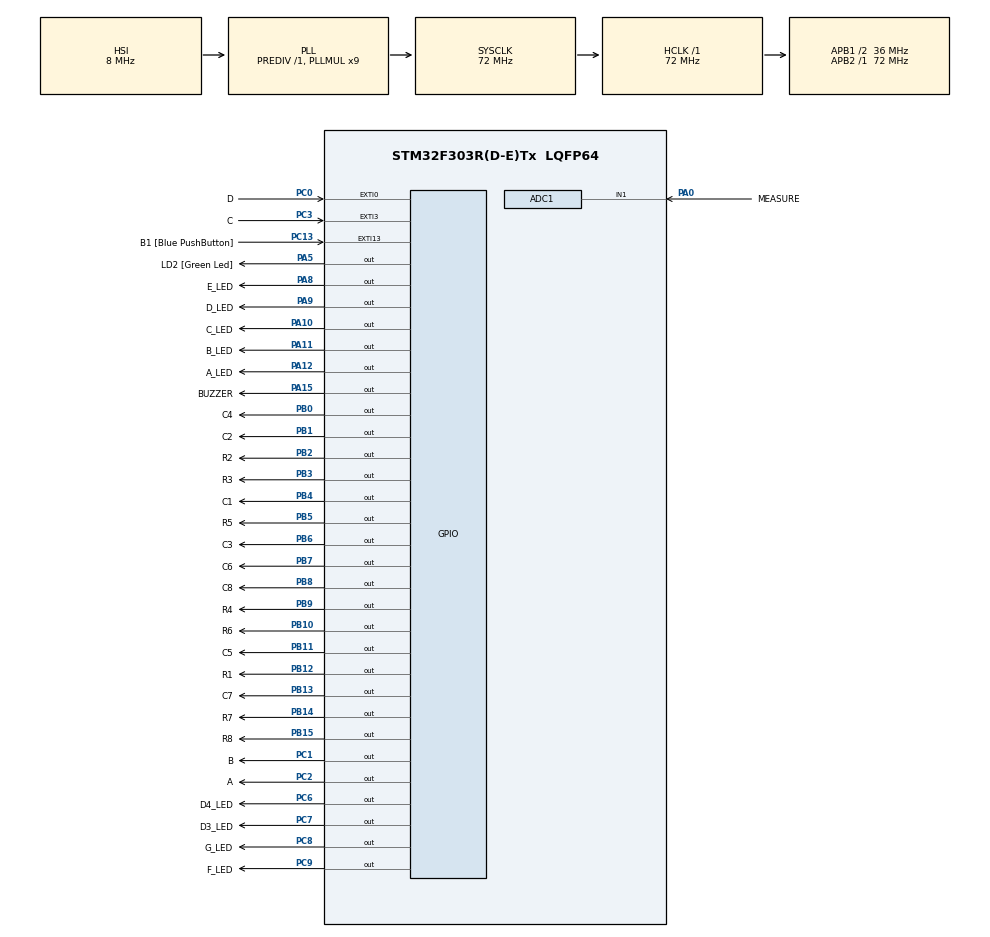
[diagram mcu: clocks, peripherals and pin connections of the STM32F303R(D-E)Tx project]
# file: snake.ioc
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ADC1.Channel-1\#ChannelRegularConversion=ADC_CHANNEL_1
ADC1.ContinuousConvMode=DISABLE
ADC1.InjNumberOfConversion=0
ADC1.NbrOfConversionFlag=1
ADC1.Offset-1\#ChannelRegularConversion=0
ADC1.OffsetNumber-1\#ChannelRegularConversion=ADC_OFFSET_NONE
ADC1.Rank-1\#ChannelRegularConversion=1
ADC1.SamplingTime-1\#ChannelRegularConversion=ADC_SAMPLETIME_1CYCLE_5
ADC1.SamplingTimeOPAMP-1\#ChannelRegularConversion=ADC_SAMPLETIME_61CYCLES_5
ADC1.master=1
Mcu.Family=STM32F3
Mcu.Name=STM32F303R(D-E)Tx
Mcu.Package=LQFP64
NVIC.EXTI0_IRQn=true\:0\:0\:false\:false\:true\:true\:true
NVIC.EXTI15_10_IRQn=true\:0\:0\:false\:false\:true\:true\:true
NVIC.EXTI3_IRQn=true\:0\:0\:false\:false\:true\:true\:true
NVIC.PriorityGroup=NVIC_PRIORITYGROUP_0
NVIC.TIM2_IRQn=true\:0\:0\:false\:false\:true\:true\:true
NVIC.TIM3_IRQn=true\:0\:0\:false\:false\:true\:true\:true
NVIC.TIM4_IRQn=true\:0\:0\:false\:false\:true\:true\:true
PA0.GPIO_Label=MEASURE
PA0.Signal=SharedAnalog_PA0
PA10.GPIO_Label=C_LED
PA10.PinState=GPIO_PIN_SET
PA10.Signal=GPIO_Output
PA11.GPIO_Label=B_LED
PA11.PinState=GPIO_PIN_SET
PA11.Signal=GPIO_Output
PA12.GPIO_Label=A_LED
PA12.PinState=GPIO_PIN_SET
PA12.Signal=GPIO_Output
PA13.GPIO_Label=TMS
PA13.Mode=Serial_Wire
PA13.Signal=SYS_JTMS-SWDIO
PA14.GPIO_Label=TCK
PA14.Mode=Serial_Wire
PA14.Signal=SYS_JTCK-SWCLK
PA15.GPIO_Label=BUZZER
PA15.GPIO_ModeDefaultOutputPP=GPIO_MODE_OUTPUT_OD
PA15.PinState=GPIO_PIN_SET
PA15.Signal=GPIO_Output
PA2.GPIO_Label=USART_TX
PA2.GPIO_Mode=GPIO_MODE_AF_PP
PA2.GPIO_PuPd=GPIO_NOPULL
PA2.GPIO_Speed=GPIO_SPEED_FREQ_LOW
PA2.Signal=USART2_TX
PA3.GPIO_Label=USART_RX
PA3.GPIO_Mode=GPIO_MODE_AF_PP
PA3.GPIO_PuPd=GPIO_NOPULL
PA3.GPIO_Speed=GPIO_SPEED_FREQ_LOW
PA3.Signal=USART2_RX
PA5.GPIO_Label=LD2 [Green Led]
PA5.GPIO_Mode=GPIO_MODE_OUTPUT_PP
PA5.GPIO_PuPd=GPIO_NOPULL
PA5.GPIO_Speed=GPIO_SPEED_FREQ_LOW
PA5.Signal=GPIO_Output
PA8.GPIO_Label=E_LED
PA8.PinState=GPIO_PIN_SET
PA8.Signal=GPIO_Output
PA9.GPIO_Label=D_LED
PA9.PinState=GPIO_PIN_SET
PA9.Signal=GPIO_Output
PB0.GPIO_Label=C4
PB0.GPIO_Speed=GPIO_SPEED_FREQ_MEDIUM
PB0.PinState=GPIO_PIN_RESET
PB0.Signal=GPIO_Output
PB1.GPIO_Label=C2
PB1.GPIO_Speed=GPIO_SPEED_FREQ_MEDIUM
PB1.PinState=GPIO_PIN_RESET
PB1.Signal=GPIO_Output
PB10.GPIO_Label=R6
PB10.GPIO_Speed=GPIO_SPEED_FREQ_MEDIUM
PB10.PinState=GPIO_PIN_SET
PB10.Signal=GPIO_Output
PB11.GPIO_Label=C5
PB11.GPIO_Speed=GPIO_SPEED_FREQ_MEDIUM
PB11.PinState=GPIO_PIN_RESET
PB11.Signal=GPIO_Output
PB12.GPIO_Label=R1
PB12.GPIO_Speed=GPIO_SPEED_FREQ_MEDIUM
PB12.PinState=GPIO_PIN_SET
PB12.Signal=GPIO_Output
PB13.GPIO_Label=C7
PB13.GPIO_Speed=GPIO_SPEED_FREQ_MEDIUM
PB13.PinState=GPIO_PIN_RESET
PB13.Signal=GPIO_Output
PB14.GPIO_Label=R7
PB14.GPIO_Speed=GPIO_SPEED_FREQ_MEDIUM
PB14.PinState=GPIO_PIN_SET
PB14.Signal=GPIO_Output
PB15.GPIO_Label=R8
PB15.GPIO_Speed=GPIO_SPEED_FREQ_MEDIUM
PB15.PinState=GPIO_PIN_SET
PB15.Signal=GPIO_Output
PB2.GPIO_Label=R2
PB2.GPIO_Speed=GPIO_SPEED_FREQ_MEDIUM
PB2.PinState=GPIO_PIN_SET
PB2.Signal=GPIO_Output
PB3.GPIO_Label=R3
PB3.GPIO_Speed=GPIO_SPEED_FREQ_MEDIUM
PB3.PinState=GPIO_PIN_SET
PB3.Signal=GPIO_Output
PB4.GPIO_Label=C1
PB4.GPIO_Speed=GPIO_SPEED_FREQ_MEDIUM
PB4.PinState=GPIO_PIN_RESET
PB4.Signal=GPIO_Output
PB5.GPIO_Label=R5
PB5.GPIO_Speed=GPIO_SPEED_FREQ_MEDIUM
PB5.PinState=GPIO_PIN_SET
PB5.Signal=GPIO_Output
PB6.GPIO_Label=C3
PB6.GPIO_Speed=GPIO_SPEED_FREQ_MEDIUM
PB6.PinState=GPIO_PIN_RESET
PB6.Signal=GPIO_Output
PB7.GPIO_Label=C6
PB7.GPIO_Speed=GPIO_SPEED_FREQ_MEDIUM
PB7.PinState=GPIO_PIN_RESET
PB7.Signal=GPIO_Output
PB8.GPIO_Label=C8
PB8.GPIO_Speed=GPIO_SPEED_FREQ_MEDIUM
PB8.PinState=GPIO_PIN_RESET
PB8.Signal=GPIO_Output
PB9.GPIO_Label=R4
PB9.GPIO_Speed=GPIO_SPEED_FREQ_MEDIUM
PB9.PinState=GPIO_PIN_SET
PB9.Signal=GPIO_Output
PC0.GPIO_Label=D
PC0.GPIO_PuPd=GPIO_PULLDOWN
PC0.Signal=GPXTI0
PC1.GPIO_Label=B
PC1.GPIO_ModeDefaultOutputPP=GPIO_MODE_OUTPUT_OD
PC1.GPIO_Speed=GPIO_SPEED_FREQ_LOW
PC1.PinState=GPIO_PIN_RESET
PC1.Signal=GPIO_Output
PC13.GPIO_Label=B1 [Blue PushButton]
PC13.GPIO_ModeDefaultEXTI=GPIO_MODE_IT_FALLING
PC13.Signal=GPXTI13
PC14-OSC32_IN.Mode=LSE-External-Oscillator
PC14-OSC32_IN.Signal=RCC_OSC32_IN
PC15-OSC32_OUT.Mode=LSE-External-Oscillator
PC15-OSC32_OUT.Signal=RCC_OSC32_OUT
PC2.GPIO_Label=A
PC2.GPIO_ModeDefaultOutputPP=GPIO_MODE_OUTPUT_OD
PC2.GPIO_PuPd=GPIO_NOPULL
PC2.GPIO_Speed=GPIO_SPEED_FREQ_LOW
PC2.PinState=GPIO_PIN_RESET
PC2.Signal=GPIO_Output
PC3.GPIO_Label=C
PC3.GPIO_PuPd=GPIO_PULLDOWN
PC3.Signal=GPXTI3
PC6.GPIO_Label=D4_LED
PC6.Signal=GPIO_Output
PC7.GPIO_Label=D3_LED
PC7.PinState=GPIO_PIN_RESET
PC7.Signal=GPIO_Output
PC8.GPIO_Label=G_LED
PC8.PinState=GPIO_PIN_SET
PC8.Signal=GPIO_Output
PC9.GPIO_Label=F_LED
PC9.PinState=GPIO_PIN_SET
PC9.Signal=GPIO_Output
PF0-OSC_IN.Mode=HSE-External-Clock-Source
PF0-OSC_IN.Signal=RCC_OSC_IN
PF1-OSC_OUT.Signal=RCC_OSC_OUT
ProjectManager.HeapSize=0x200
ProjectManager.StackSize=0x400
ProjectManager.TargetToolchain=STM32CubeIDE
RCC.AHBFreq_Value=72000000
RCC.APB1CLKDivider=RCC_HCLK_DIV2
RCC.APB1Freq_Value=36000000
RCC.APB1TimFreq_Value=72000000
RCC.APB2Freq_Value=72000000
RCC.APB2TimFreq_Value=72000000
RCC.CortexFreq_Value=72000000
RCC.HCLKFreq_Value=72000000
RCC.HSE_VALUE=8000000
RCC.HSI_VALUE=8000000
RCC.PLLM=8
RCC.PLLMUL=RCC_PLL_MUL9
RCC.PLLN=336
RCC.PLLP=RCC_PLLP_DIV4
RCC.PLLQ=7
RCC.RCC_PLLsource_Clock_Source_FROM_HSE=RCC_HSE_PREDIV_DIV2
RCC.SYSCLKFreq_VALUE=72000000
RCC.SYSCLKSourceVirtual=RCC_SYSCLKSOURCE_PLLCLK
RCC.USBFreq_Value=72000000
SH.SharedAnalog_PA0.0=GPIO_Analog
SH.SharedAnalog_PA0.1=ADC1_IN1,IN1-Single-Ended
TIM2.Period=499999
TIM2.Prescaler=72
TIM3.Period=19999
TIM3.Prescaler=72
TIM4.Period=999
TIM4.Prescaler=72
VP_TIM2_VS_ClockSourceINT.Mode=Internal
VP_TIM3_VS_ClockSourceINT.Mode=Internal
VP_TIM4_VS_ClockSourceINT.Mode=Internal
board=NUCLEO-F303RE

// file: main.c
/* USER CODE BEGIN Header */
/**
  ******************************************************************************
  * @file           : main.c
  * @brief          : Main program body
  ******************************************************************************
  * @attention
  *
  * <h2><center>&copy; Copyright (c) 2021 STMicroelectronics.
  * All rights reserved.</center></h2>
  *
  * This software component is licensed by ST under BSD 3-Clause license,
  * the "License"; You may not use this file except in compliance with the
  * License. You may obtain a copy of the License at:
  *                        opensource.org/licenses/BSD-3-Clause
  *
  ******************************************************************************
  */
/* USER CODE END Header */
#include "main.h"

/* USER CODE BEGIN Includes */
#include <stdbool.h>
#include <stdlib.h>
/* USER CODE END Includes */

/* USER CODE BEGIN PTD */
typedef enum
{
  RIGHT,
  DOWN,
  LEFT,
  UP
}MOVEMENT;

typedef enum
{
  HIGH,
  LOW
}TONE;

typedef enum
{
  FOURTH,
  THIRD
}DIGITS;

struct snake
{
    struct bodypart * head;
	struct bodypart * tail;
	struct bodypart * target;
    uint8_t length;
};

struct bodypart
{
    int8_t x, y;
    struct bodypart * prev;
};
/* USER CODE END PTD */

/* USER CODE BEGIN PD */
#define ALL_COLS			(C1_Pin|C2_Pin|C3_Pin|C4_Pin|C5_Pin|C6_Pin|C7_Pin|C8_Pin)
#define START_X				-1
#define START_Y				0
#define DIAL_SENSITIVITY	2
#define MIN_SPEED_PERIOD    50
#define BUZZ_LEN			24
#define BANG_TIM2_ARR		300000
#define RST_DISP_ADDR_PA	(A_LED_Pin|B_LED_Pin|C_LED_Pin|D_LED_Pin|E_LED_Pin)
#define RST_DISP_ADDR_PC	(F_LED_Pin|G_LED_Pin)
/* USER CODE END PD */

ADC_HandleTypeDef hadc1;

TIM_HandleTypeDef htim2;
TIM_HandleTypeDef htim3;
TIM_HandleTypeDef htim4;

/* USER CODE BEGIN PV */
uint8_t movement = RIGHT;
bool bang = false;
/* USER CODE END PV */

void SystemClock_Config(void);
static void MX_GPIO_Init(void);
static void MX_TIM2_Init(void);
static void MX_TIM4_Init(void);
static void MX_TIM3_Init(void);
static void MX_ADC1_Init(void);
/* USER CODE BEGIN PFP */
struct bodypart * createBodypart(struct snake * snPtr);
struct bodypart * createSnack(uint16_t * dispData, const uint16_t * Cols);
void elongate(struct snake * snPtr, uint16_t * dispData, const uint16_t * Cols);
void swap(struct snake * snPtr, uint16_t * dispData, const uint16_t * Cols);
void display(uint8_t value, uint8_t digit);
/* USER CODE END PFP */

int main(void)
{

  /* MCU Configuration--------------------------------------------------------*/

  /* Reset of all peripherals, Initializes the Flash interface and the Systick. */
  HAL_Init();

  /* Configure the system clock */
  SystemClock_Config();

  /* Initialize all configured peripherals */
  MX_GPIO_Init();
  MX_TIM2_Init();
  MX_TIM4_Init();
  MX_TIM3_Init();
  MX_ADC1_Init();
  /* USER CODE BEGIN 2 */
  //HAL_GPIO_WritePin(N_ENABLE_MEASURE_GPIO_Port, N_ENABLE_MEASURE_Pin, GPIO_PIN_SET);
  HAL_ADC_Start(&hadc1);
  HAL_ADC_PollForConversion(&hadc1, HAL_MAX_DELAY);
  float newPeriodTIM2 = HAL_ADC_GetValue(&hadc1);
  newPeriodTIM2 = ((2048/newPeriodTIM2-1)*DIAL_SENSITIVITY+1)*TIM2->ARR;
  TIM2->ARR = newPeriodTIM2>MIN_SPEED_PERIOD ? newPeriodTIM2:MIN_SPEED_PERIOD;
  //HAL_GPIO_WritePin(N_ENABLE_MEASURE_GPIO_Port, N_ENABLE_MEASURE_Pin, GPIO_PIN_RESET);

  HAL_TIM_Base_Start_IT(&htim2);
  HAL_TIM_Base_Start_IT(&htim4);
  HAL_TIM_Base_Start_IT(&htim3);
  /* USER CODE END 2 */

  /* Infinite loop */
  while (1)
  {

  }
}

void SystemClock_Config(void)
{
  RCC_OscInitTypeDef RCC_OscInitStruct = {0};
  RCC_ClkInitTypeDef RCC_ClkInitStruct = {0};
  RCC_PeriphCLKInitTypeDef PeriphClkInit = {0};

  /** Initializes the RCC Oscillators according to the specified parameters
  * in the RCC_OscInitTypeDef structure.
  */
  RCC_OscInitStruct.OscillatorType = RCC_OSCILLATORTYPE_HSI;
  RCC_OscInitStruct.HSIState = RCC_HSI_ON;
  RCC_OscInitStruct.HSICalibrationValue = RCC_HSICALIBRATION_DEFAULT;
  RCC_OscInitStruct.PLL.PLLState = RCC_PLL_ON;
  RCC_OscInitStruct.PLL.PLLSource = RCC_PLLSOURCE_HSI;
  RCC_OscInitStruct.PLL.PLLMUL = RCC_PLL_MUL9;
  RCC_OscInitStruct.PLL.PREDIV = RCC_PREDIV_DIV1;
  if (HAL_RCC_OscConfig(&RCC_OscInitStruct) != HAL_OK)
  {
    Error_Handler();
  }
  /** Initializes the CPU, AHB and APB buses clocks
  */
  RCC_ClkInitStruct.ClockType = RCC_CLOCKTYPE_HCLK|RCC_CLOCKTYPE_SYSCLK
                              |RCC_CLOCKTYPE_PCLK1|RCC_CLOCKTYPE_PCLK2;
  RCC_ClkInitStruct.SYSCLKSource = RCC_SYSCLKSOURCE_PLLCLK;
  RCC_ClkInitStruct.AHBCLKDivider = RCC_SYSCLK_DIV1;
  RCC_ClkInitStruct.APB1CLKDivider = RCC_HCLK_DIV2;
  RCC_ClkInitStruct.APB2CLKDivider = RCC_HCLK_DIV1;

  if (HAL_RCC_ClockConfig(&RCC_ClkInitStruct, FLASH_LATENCY_2) != HAL_OK)
  {
    Error_Handler();
  }
  PeriphClkInit.PeriphClockSelection = RCC_PERIPHCLK_ADC12|RCC_PERIPHCLK_TIM2
                              |RCC_PERIPHCLK_TIM34;
  PeriphClkInit.Adc12ClockSelection = RCC_ADC12PLLCLK_DIV1;
  PeriphClkInit.Tim2ClockSelection = RCC_TIM2CLK_HCLK;
  PeriphClkInit.Tim34ClockSelection = RCC_TIM34CLK_HCLK;
  if (HAL_RCCEx_PeriphCLKConfig(&PeriphClkInit) != HAL_OK)
  {
    Error_Handler();
  }
}

static void MX_ADC1_Init(void)
{

  ADC_MultiModeTypeDef multimode = {0};
  ADC_ChannelConfTypeDef sConfig = {0};

  /** Common config
  */
  hadc1.Instance = ADC1;
  hadc1.Init.ClockPrescaler = ADC_CLOCK_ASYNC_DIV1;
  hadc1.Init.Resolution = ADC_RESOLUTION_12B;
  hadc1.Init.ScanConvMode = ADC_SCAN_DISABLE;
  hadc1.Init.ContinuousConvMode = DISABLE;
  hadc1.Init.DiscontinuousConvMode = DISABLE;
  hadc1.Init.ExternalTrigConvEdge = ADC_EXTERNALTRIGCONVEDGE_NONE;
  hadc1.Init.ExternalTrigConv = ADC_SOFTWARE_START;
  hadc1.Init.DataAlign = ADC_DATAALIGN_RIGHT;
  hadc1.Init.NbrOfConversion = 1;
  hadc1.Init.DMAContinuousRequests = DISABLE;
  hadc1.Init.EOCSelection = ADC_EOC_SINGLE_CONV;
  hadc1.Init.LowPowerAutoWait = DISABLE;
  hadc1.Init.Overrun = ADC_OVR_DATA_OVERWRITTEN;
  if (HAL_ADC_Init(&hadc1) != HAL_OK)
  {
    Error_Handler();
  }
  /** Configure the ADC multi-mode
  */
  multimode.Mode = ADC_MODE_INDEPENDENT;
  if (HAL_ADCEx_MultiModeConfigChannel(&hadc1, &multimode) != HAL_OK)
  {
    Error_Handler();
  }
  /** Configure Regular Channel
  */
  sConfig.Channel = ADC_CHANNEL_1;
  sConfig.Rank = ADC_REGULAR_RANK_1;
  sConfig.SingleDiff = ADC_SINGLE_ENDED;
  sConfig.SamplingTime = ADC_SAMPLETIME_1CYCLE_5;
  sConfig.OffsetNumber = ADC_OFFSET_NONE;
  sConfig.Offset = 0;
  if (HAL_ADC_ConfigChannel(&hadc1, &sConfig) != HAL_OK)
  {
    Error_Handler();
  }

}

static void MX_TIM2_Init(void)
{

  TIM_ClockConfigTypeDef sClockSourceConfig = {0};
  TIM_MasterConfigTypeDef sMasterConfig = {0};

  htim2.Instance = TIM2;
  htim2.Init.Prescaler = 72;
  htim2.Init.CounterMode = TIM_COUNTERMODE_UP;
  htim2.Init.Period = 499999;
  htim2.Init.ClockDivision = TIM_CLOCKDIVISION_DIV1;
  htim2.Init.AutoReloadPreload = TIM_AUTORELOAD_PRELOAD_DISABLE;
  if (HAL_TIM_Base_Init(&htim2) != HAL_OK)
  {
    Error_Handler();
  }
  sClockSourceConfig.ClockSource = TIM_CLOCKSOURCE_INTERNAL;
  if (HAL_TIM_ConfigClockSource(&htim2, &sClockSourceConfig) != HAL_OK)
  {
    Error_Handler();
  }
  sMasterConfig.MasterOutputTrigger = TIM_TRGO_RESET;
  sMasterConfig.MasterSlaveMode = TIM_MASTERSLAVEMODE_DISABLE;
  if (HAL_TIMEx_MasterConfigSynchronization(&htim2, &sMasterConfig) != HAL_OK)
  {
    Error_Handler();
  }

}

static void MX_TIM3_Init(void)
{

  TIM_ClockConfigTypeDef sClockSourceConfig = {0};
  TIM_MasterConfigTypeDef sMasterConfig = {0};

  htim3.Instance = TIM3;
  htim3.Init.Prescaler = 72;
  htim3.Init.CounterMode = TIM_COUNTERMODE_UP;
  htim3.Init.Period = 19999;
  htim3.Init.ClockDivision = TIM_CLOCKDIVISION_DIV1;
  htim3.Init.AutoReloadPreload = TIM_AUTORELOAD_PRELOAD_DISABLE;
  if (HAL_TIM_Base_Init(&htim3) != HAL_OK)
  {
    Error_Handler();
  }
  sClockSourceConfig.ClockSource = TIM_CLOCKSOURCE_INTERNAL;
  if (HAL_TIM_ConfigClockSource(&htim3, &sClockSourceConfig) != HAL_OK)
  {
    Error_Handler();
  }
  sMasterConfig.MasterOutputTrigger = TIM_TRGO_RESET;
  sMasterConfig.MasterSlaveMode = TIM_MASTERSLAVEMODE_DISABLE;
  if (HAL_TIMEx_MasterConfigSynchronization(&htim3, &sMasterConfig) != HAL_OK)
  {
    Error_Handler();
  }

}

static void MX_TIM4_Init(void)
{

  TIM_ClockConfigTypeDef sClockSourceConfig = {0};
  TIM_MasterConfigTypeDef sMasterConfig = {0};

  htim4.Instance = TIM4;
  htim4.Init.Prescaler = 72;
  htim4.Init.CounterMode = TIM_COUNTERMODE_UP;
  htim4.Init.Period = 999;
  htim4.Init.ClockDivision = TIM_CLOCKDIVISION_DIV1;
  htim4.Init.AutoReloadPreload = TIM_AUTORELOAD_PRELOAD_DISABLE;
  if (HAL_TIM_Base_Init(&htim4) != HAL_OK)
  {
    Error_Handler();
  }
  sClockSourceConfig.ClockSource = TIM_CLOCKSOURCE_INTERNAL;
  if (HAL_TIM_ConfigClockSource(&htim4, &sClockSourceConfig) != HAL_OK)
  {
    Error_Handler();
  }
  sMasterConfig.MasterOutputTrigger = TIM_TRGO_RESET;
  sMasterConfig.MasterSlaveMode = TIM_MASTERSLAVEMODE_DISABLE;
  if (HAL_TIMEx_MasterConfigSynchronization(&htim4, &sMasterConfig) != HAL_OK)
  {
    Error_Handler();
  }

}

static void MX_GPIO_Init(void)
{
  GPIO_InitTypeDef GPIO_InitStruct = {0};

  /* GPIO Ports Clock Enable */
  __HAL_RCC_GPIOC_CLK_ENABLE();
  __HAL_RCC_GPIOF_CLK_ENABLE();
  __HAL_RCC_GPIOA_CLK_ENABLE();
  __HAL_RCC_GPIOB_CLK_ENABLE();

  /*Configure GPIO pin Output Level */
  HAL_GPIO_WritePin(GPIOC, B_Pin|A_Pin|D4_LED_Pin|D3_LED_Pin, GPIO_PIN_RESET);

  /*Configure GPIO pin Output Level */
  HAL_GPIO_WritePin(LD2_GPIO_Port, LD2_Pin, GPIO_PIN_RESET);

  /*Configure GPIO pin Output Level */
  HAL_GPIO_WritePin(GPIOB, C4_Pin|C2_Pin|C5_Pin|C7_Pin
                          |C1_Pin|C3_Pin|C6_Pin|C8_Pin, GPIO_PIN_RESET);

  /*Configure GPIO pin Output Level */
  HAL_GPIO_WritePin(GPIOB, R2_Pin|R6_Pin|R1_Pin|R7_Pin
                          |R8_Pin|R3_Pin|R5_Pin|R4_Pin, GPIO_PIN_SET);

  /*Configure GPIO pin Output Level */
  HAL_GPIO_WritePin(GPIOC, G_LED_Pin|F_LED_Pin, GPIO_PIN_SET);

  /*Configure GPIO pin Output Level */
  HAL_GPIO_WritePin(GPIOA, E_LED_Pin|D_LED_Pin|C_LED_Pin|B_LED_Pin
                          |A_LED_Pin|BUZZER_Pin, GPIO_PIN_SET);

  /*Configure GPIO pin : B1_Pin */
  GPIO_InitStruct.Pin = B1_Pin;
  GPIO_InitStruct.Mode = GPIO_MODE_IT_FALLING;
  GPIO_InitStruct.Pull = GPIO_NOPULL;
  HAL_GPIO_Init(B1_GPIO_Port, &GPIO_InitStruct);

  /*Configure GPIO pins : D_Pin C_Pin */
  GPIO_InitStruct.Pin = D_Pin|C_Pin;
  GPIO_InitStruct.Mode = GPIO_MODE_IT_RISING;
  GPIO_InitStruct.Pull = GPIO_PULLDOWN;
  HAL_GPIO_Init(GPIOC, &GPIO_InitStruct);

  /*Configure GPIO pins : B_Pin A_Pin */
  GPIO_InitStruct.Pin = B_Pin|A_Pin;
  GPIO_InitStruct.Mode = GPIO_MODE_OUTPUT_OD;
  GPIO_InitStruct.Pull = GPIO_NOPULL;
  GPIO_InitStruct.Speed = GPIO_SPEED_FREQ_LOW;
  HAL_GPIO_Init(GPIOC, &GPIO_InitStruct);

  /*Configure GPIO pins : USART_TX_Pin USART_RX_Pin */
  GPIO_InitStruct.Pin = USART_TX_Pin|USART_RX_Pin;
  GPIO_InitStruct.Mode = GPIO_MODE_AF_PP;
  GPIO_InitStruct.Pull = GPIO_NOPULL;
  GPIO_InitStruct.Speed = GPIO_SPEED_FREQ_LOW;
  GPIO_InitStruct.Alternate = GPIO_AF7_USART2;
  HAL_GPIO_Init(GPIOA, &GPIO_InitStruct);

  /*Configure GPIO pins : LD2_Pin E_LED_Pin D_LED_Pin C_LED_Pin
                           B_LED_Pin A_LED_Pin */
  GPIO_InitStruct.Pin = LD2_Pin|E_LED_Pin|D_LED_Pin|C_LED_Pin
                          |B_LED_Pin|A_LED_Pin;
  GPIO_InitStruct.Mode = GPIO_MODE_OUTPUT_PP;
  GPIO_InitStruct.Pull = GPIO_NOPULL;
  GPIO_InitStruct.Speed = GPIO_SPEED_FREQ_LOW;
  HAL_GPIO_Init(GPIOA, &GPIO_InitStruct);

  /*Configure GPIO pins : C4_Pin C2_Pin R2_Pin R6_Pin
                           C5_Pin R1_Pin C7_Pin R7_Pin
                           R8_Pin R3_Pin C1_Pin R5_Pin
                           C3_Pin C6_Pin C8_Pin R4_Pin */
  GPIO_InitStruct.Pin = C4_Pin|C2_Pin|R2_Pin|R6_Pin
                          |C5_Pin|R1_Pin|C7_Pin|R7_Pin
                          |R8_Pin|R3_Pin|C1_Pin|R5_Pin
                          |C3_Pin|C6_Pin|C8_Pin|R4_Pin;
  GPIO_InitStruct.Mode = GPIO_MODE_OUTPUT_PP;
  GPIO_InitStruct.Pull = GPIO_NOPULL;
  GPIO_InitStruct.Speed = GPIO_SPEED_FREQ_MEDIUM;
  HAL_GPIO_Init(GPIOB, &GPIO_InitStruct);

  /*Configure GPIO pins : D4_LED_Pin D3_LED_Pin G_LED_Pin F_LED_Pin */
  GPIO_InitStruct.Pin = D4_LED_Pin|D3_LED_Pin|G_LED_Pin|F_LED_Pin;
  GPIO_InitStruct.Mode = GPIO_MODE_OUTPUT_PP;
  GPIO_InitStruct.Pull = GPIO_NOPULL;
  GPIO_InitStruct.Speed = GPIO_SPEED_FREQ_LOW;
  HAL_GPIO_Init(GPIOC, &GPIO_InitStruct);

  /*Configure GPIO pin : BUZZER_Pin */
  GPIO_InitStruct.Pin = BUZZER_Pin;
  GPIO_InitStruct.Mode = GPIO_MODE_OUTPUT_OD;
  GPIO_InitStruct.Pull = GPIO_NOPULL;
  GPIO_InitStruct.Speed = GPIO_SPEED_FREQ_LOW;
  HAL_GPIO_Init(BUZZER_GPIO_Port, &GPIO_InitStruct);

  /* EXTI interrupt init*/
  HAL_NVIC_SetPriority(EXTI0_IRQn, 0, 0);
  HAL_NVIC_EnableIRQ(EXTI0_IRQn);

  HAL_NVIC_SetPriority(EXTI3_IRQn, 0, 0);
  HAL_NVIC_EnableIRQ(EXTI3_IRQn);

  HAL_NVIC_SetPriority(EXTI15_10_IRQn, 0, 0);
  HAL_NVIC_EnableIRQ(EXTI15_10_IRQn);

}

/* USER CODE BEGIN 4 */
void HAL_TIM_PeriodElapsedCallback(TIM_HandleTypeDef *htim)
{
	static const uint16_t Cols[8] = {C1_Pin,C2_Pin,C3_Pin,C4_Pin,C5_Pin,C6_Pin,C7_Pin,C8_Pin};
	static const uint16_t Rows[8] = {R1_Pin|ALL_COLS,R2_Pin|ALL_COLS,R3_Pin|ALL_COLS,R4_Pin|ALL_COLS,
									R5_Pin|ALL_COLS,R6_Pin|ALL_COLS,R7_Pin|ALL_COLS,R8_Pin|ALL_COLS};
	static uint16_t dispData[8] = {0x0000, 0x0000, 0x0000, 0x0000, 0x0000, 0x0000, 0x0000, 0x0000};
	static bool toggleTest;
	static uint8_t buzzerCt;
	static uint8_t tone = HIGH;

	// TODO createSnake()
	static struct bodypart head = {.x = START_X, .y = START_Y, .prev = NULL};
	static struct bodypart tail = {.x = START_X-1, .y = START_Y, .prev = &head};
	static struct snake sn = {.head = &head, .tail = &tail, .target = NULL, .length = 2};

	if(htim->Instance==TIM4){
		static uint8_t pos = 0;

		if(bang){
			TIM2->ARR = BANG_TIM2_ARR;
			static const uint16_t TestX[8] = {C1_Pin|C8_Pin, C2_Pin|C7_Pin, C3_Pin|C6_Pin, C4_Pin|C5_Pin,
											C5_Pin|C4_Pin, C6_Pin|C3_Pin, C7_Pin|C2_Pin, C8_Pin|C1_Pin};
			static const uint16_t TestO[8] = {C3_Pin|C4_Pin|C5_Pin|C6_Pin, C2_Pin|C7_Pin, C1_Pin|C8_Pin,
											C1_Pin|C8_Pin, C1_Pin|C8_Pin, C1_Pin|C8_Pin,
											C2_Pin|C7_Pin, C3_Pin|C4_Pin|C5_Pin|C6_Pin};

			GPIOB->ODR = Rows[pos]^~(toggleTest ? TestX[pos]:TestO[pos]);

			if(buzzerCt<6*BUZZ_LEN){
				switch(tone){
				case HIGH:
					if(!(pos%4)) HAL_GPIO_TogglePin(BUZZER_GPIO_Port, BUZZER_Pin);
					break;
				case LOW:
					if(!pos) HAL_GPIO_TogglePin(BUZZER_GPIO_Port, BUZZER_Pin);
					break;
				}
				buzzerCt++;
			}
		}
		else if(sn.length==64){
			TIM2->ARR = BANG_TIM2_ARR;
			static const uint16_t Trophy[8] = {ALL_COLS,
											ALL_COLS,
											C2_Pin|C3_Pin|C4_Pin|C5_Pin|C6_Pin|C7_Pin,
											C3_Pin|C4_Pin|C5_Pin|C6_Pin,
											C4_Pin|C5_Pin,
											C4_Pin|C5_Pin,
											C3_Pin|C4_Pin|C5_Pin|C6_Pin,
											C2_Pin|C3_Pin|C4_Pin|C5_Pin|C6_Pin|C7_Pin};

			GPIOB->ODR = Rows[pos]^~Trophy[pos];

			if(buzzerCt<BUZZ_LEN){
				switch(tone){
				case HIGH:
					if(!(pos%2)) HAL_GPIO_TogglePin(BUZZER_GPIO_Port, BUZZER_Pin);
					break;
				case LOW:
					HAL_GPIO_TogglePin(BUZZER_GPIO_Port, BUZZER_Pin);
					break;
				}
				buzzerCt++;
			}
			else if(tone) HAL_TIM_Base_Stop_IT(&htim2);
		}
		else{
			GPIOB->ODR = Rows[pos]^~dispData[pos];
			if(buzzerCt<BUZZ_LEN){
				HAL_GPIO_TogglePin(BUZZER_GPIO_Port, BUZZER_Pin);
				buzzerCt++;
			}
		}

		if(!(pos%4)) display(sn.length-1, pos/4);
		pos = (pos+1)%8;
	}
	if(htim->Instance==TIM3){
		static bool togglePin;
		togglePin = !togglePin;
		if(togglePin){
			HAL_GPIO_WritePin(A_GPIO_Port, A_Pin, GPIO_PIN_RESET);
			HAL_GPIO_WritePin(B_GPIO_Port, B_Pin, GPIO_PIN_SET);
		}
		else{
			HAL_GPIO_WritePin(B_GPIO_Port, B_Pin, GPIO_PIN_RESET);
			HAL_GPIO_WritePin(A_GPIO_Port, A_Pin, GPIO_PIN_SET);
		}
	}
	else if(htim->Instance==TIM2){
		toggleTest = !toggleTest;
		buzzerCt = 0;
		if(!sn.target) sn.target = createSnack(dispData, Cols);
		if(!sn.target) bang = true;
		if(bang || sn.length==64){
			static uint8_t blinks = 0;
			if(blinks<5){
				if(!tone) blinks++;
				tone = (tone+1)%2;
			}
			else tone = 2;
		}
		else{
			switch(movement){
				case DOWN:
					if(sn.head->y==7) bang = true;
					else if(sn.head->x==sn.target->x && sn.head->y+1==sn.target->y){
						elongate(&sn, dispData, Cols);
					}
					else if(dispData[sn.head->y+1]!=(dispData[sn.head->y+1]&~Cols[sn.head->x])) bang = true;
					else{
						if(sn.tail->x>=0) dispData[sn.tail->y] ^= Cols[sn.tail->x]; // usuń ogon z wyświetlania – zeruj bity
						sn.tail->x = sn.head->x;
						sn.tail->y = sn.head->y+1;
						swap(&sn, dispData, Cols);
					}
					break;
				case RIGHT:
					if(sn.head->x==7) bang = true;
					else if(sn.head->x+1==sn.target->x && sn.head->y==sn.target->y){
						elongate(&sn, dispData, Cols);
					}
					else if(dispData[sn.head->y]!=(dispData[sn.head->y]&~Cols[sn.head->x+1])) bang = true;
					else{
						if(sn.tail->x>=0) dispData[sn.tail->y] ^= Cols[sn.tail->x];
						sn.tail->x = sn.head->x+1;
						sn.tail->y = sn.head->y;
						swap(&sn, dispData, Cols);
					}
					break;
				case UP:
					if(sn.head->y==0) bang = true;
					else if(sn.head->x==sn.target->x && sn.head->y-1==sn.target->y){
						elongate(&sn, dispData, Cols);
					}
					else if(dispData[sn.head->y-1]!=(dispData[sn.head->y-1]&~Cols[sn.head->x])) bang = true;
					else{
						if(sn.tail->x>=0) dispData[sn.tail->y] ^= Cols[sn.tail->x];
						sn.tail->x = sn.head->x;
						sn.tail->y = sn.head->y-1;
						swap(&sn, dispData, Cols);
					}
					break;
				case LEFT:
					if(sn.head->x==0) bang = true;
					else if(sn.head->x-1==sn.target->x && sn.head->y==sn.target->y){
						elongate(&sn, dispData, Cols);
					}
					else if(dispData[sn.head->y]!=(dispData[sn.head->y]&~Cols[sn.head->x-1])) bang = true;
					else{
						if(sn.tail->x>=0) dispData[sn.tail->y] ^= Cols[sn.tail->x];
						sn.tail->x = sn.head->x-1;
						sn.tail->y = sn.head->y;
						swap(&sn, dispData, Cols);
					}
					break;
			}
		}
	}
}

void HAL_GPIO_EXTI_Callback(uint16_t GPIO_Pin)
{
	static GPIO_PinState a, b;
	a = HAL_GPIO_ReadPin(A_GPIO_Port, A_Pin);
	b = HAL_GPIO_ReadPin(B_GPIO_Port, B_Pin);
	if(GPIO_Pin==B1_Pin){
		if(TIM2->CR1&1){
			HAL_TIM_Base_Stop_IT(&htim2);
			HAL_TIM_Base_Stop_IT(&htim3);
		}
		else{
			HAL_TIM_Base_Start_IT(&htim2);
			HAL_TIM_Base_Start_IT(&htim3);
		}
	}
	else if(GPIO_Pin==C_Pin){
		if(a) movement = UP;
		else if(b) movement = LEFT;
	}
	else if(GPIO_Pin==D_Pin){
		if(a) movement = DOWN;
		else if(b) movement = RIGHT;
	}
}

struct bodypart * createBodypart(struct snake * snPtr){
	snPtr->length++;
	struct bodypart * bpPtr = malloc(sizeof(struct bodypart));
	if(bpPtr==NULL) return NULL;
	struct bodypart bp = {.x = snPtr->target->x, .y = snPtr->target->y, .prev = NULL};
	*bpPtr = bp;
	return bpPtr;
}

struct bodypart * createSnack(uint16_t * dispData, const uint16_t * Cols){
	uint8_t x, y;
	for(y = rand()%8;;y = (y+1)%8){ // infinite loop
		if(dispData[y]!=ALL_COLS){
			for(x = rand()%8;;x = (x+1)%8){ // infinite loop
				if(dispData[y]!=(dispData[y]|Cols[x])){
					dispData[y] = dispData[y]|Cols[x];
					struct bodypart * targetPtr = malloc(sizeof(struct bodypart));
					if(targetPtr==NULL) return NULL;
					struct bodypart target = {.x = x, .y = y, .prev = NULL};
					*targetPtr = target;
					return targetPtr;
				}
			}
		}
	}
}

void elongate(struct snake * snPtr, uint16_t * dispData, const uint16_t * Cols){
	snPtr->head->prev = createBodypart(snPtr);
	snPtr->head = snPtr->head->prev;
	free(snPtr->target);
	snPtr->target = createSnack(dispData, Cols);
}

void swap(struct snake * snPtr, uint16_t * dispData, const uint16_t * Cols){
	snPtr->head->prev = snPtr->tail;
	snPtr->head = snPtr->tail;
	snPtr->tail = snPtr->tail->prev;
	snPtr->head->prev = NULL;
	if(snPtr->head->x>=0) dispData[snPtr->head->y] ^= Cols[snPtr->head->x]; // dodaj głowę do wyświetlania – ustaw bity
}

void display(uint8_t value, uint8_t digit){
	static uint8_t buffer;
	static const uint16_t signsPA[10] = {A_LED_Pin|B_LED_Pin|C_LED_Pin|D_LED_Pin|E_LED_Pin,
										B_LED_Pin|C_LED_Pin,
										A_LED_Pin|B_LED_Pin|D_LED_Pin|E_LED_Pin,
										A_LED_Pin|B_LED_Pin|C_LED_Pin|D_LED_Pin,
										B_LED_Pin|C_LED_Pin,
										A_LED_Pin|C_LED_Pin|D_LED_Pin,
										A_LED_Pin|C_LED_Pin|D_LED_Pin|E_LED_Pin,
										A_LED_Pin|B_LED_Pin|C_LED_Pin,
										A_LED_Pin|B_LED_Pin|C_LED_Pin|D_LED_Pin|E_LED_Pin,
										A_LED_Pin|B_LED_Pin|C_LED_Pin|D_LED_Pin};
	static const uint16_t signsPC[10] = {F_LED_Pin,
										0,
										G_LED_Pin,
										G_LED_Pin,
										F_LED_Pin|G_LED_Pin,
										F_LED_Pin|G_LED_Pin,
										F_LED_Pin|G_LED_Pin,
										0,
										F_LED_Pin|G_LED_Pin,
										F_LED_Pin|G_LED_Pin,};

	HAL_GPIO_WritePin(GPIOA,RST_DISP_ADDR_PA,GPIO_PIN_SET);
	HAL_GPIO_WritePin(GPIOC,RST_DISP_ADDR_PC,GPIO_PIN_SET);
	switch(digit){
	case THIRD:
		buffer = value/10 ? value/10:10;
		HAL_GPIO_WritePin(GPIOC,D4_LED_Pin,GPIO_PIN_RESET);
		HAL_GPIO_WritePin(GPIOC,D3_LED_Pin,GPIO_PIN_SET);
		break;
	case FOURTH:
		buffer = 10!=buffer ? value-10*buffer:value;
		HAL_GPIO_WritePin(GPIOC,D3_LED_Pin,GPIO_PIN_RESET);
		HAL_GPIO_WritePin(GPIOC,D4_LED_Pin,GPIO_PIN_SET);
		break;
	}
	if(buffer!=10){
		HAL_GPIO_WritePin(GPIOA,signsPA[buffer],GPIO_PIN_RESET);
		if(buffer!=1 && buffer!=7) HAL_GPIO_WritePin(GPIOC,signsPC[buffer],GPIO_PIN_RESET);
	}
}
/* USER CODE END 4 */

void Error_Handler(void)
{
  __disable_irq();
  while (1)
  {
  }
}

/************************ (C) COPYRIGHT STMicroelectronics *****END OF FILE****/
